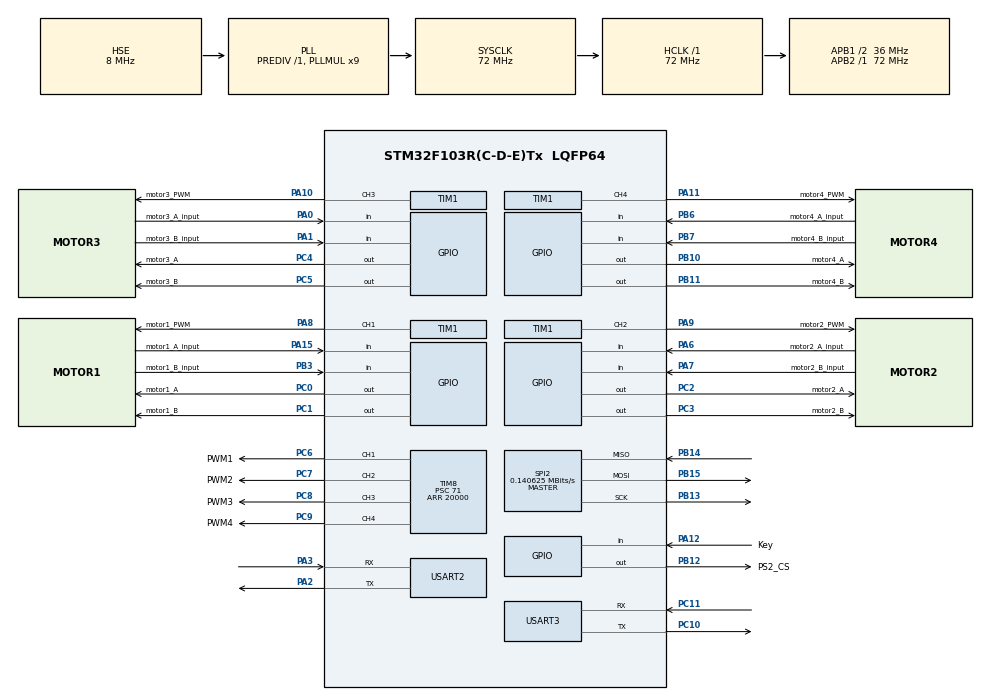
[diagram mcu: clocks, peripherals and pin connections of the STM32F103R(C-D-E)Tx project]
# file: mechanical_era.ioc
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Mcu.Family=STM32F1
Mcu.Name=STM32F103R(C-D-E)Tx
Mcu.Package=LQFP64
NVIC.PriorityGroup=NVIC_PRIORITYGROUP_4
PA0-WKUP.GPIO_Label=motor3_A_input
PA0-WKUP.Signal=GPIO_Input
PA1.GPIO_Label=motor3_B_input
PA1.Signal=GPIO_Input
PA10.GPIO_Label=motor3_PWM
PA10.Signal=S_TIM1_CH3
PA11.GPIO_Label=motor4_PWM
PA11.Signal=S_TIM1_CH4
PA12.GPIO_Label=Key
PA12.GPIO_PuPd=GPIO_PULLUP
PA12.Signal=GPIO_Input
PA13.Mode=Serial_Wire
PA13.Signal=SYS_JTMS-SWDIO
PA14.Mode=Serial_Wire
PA14.Signal=SYS_JTCK-SWCLK
PA15.GPIO_Label=motor1_A_input
PA15.Signal=GPIO_Input
PA2.Mode=Asynchronous
PA2.Signal=USART2_TX
PA3.Mode=Asynchronous
PA3.Signal=USART2_RX
PA6.GPIO_Label=motor2_A_input
PA6.Signal=GPIO_Input
PA7.GPIO_Label=motor2_B_input
PA7.Signal=GPIO_Input
PA8.GPIO_Label=motor1_PWM
PA8.Signal=S_TIM1_CH1
PA9.GPIO_Label=motor2_PWM
PA9.Signal=S_TIM1_CH2
PB10.GPIO_Label=motor4_A
PB10.Signal=GPIO_Output
PB11.GPIO_Label=motor4_B
PB11.Signal=GPIO_Output
PB12.GPIO_Label=PS2_CS
PB12.GPIO_OutputLevel=GPIO_PIN_SET
PB12.Signal=GPIO_Output
PB13.Mode=Full_Duplex_Master
PB13.Signal=SPI2_SCK
PB14.GPIO_PuPd=GPIO_PULLUP
PB14.Mode=Full_Duplex_Master
PB14.Signal=SPI2_MISO
PB15.Mode=Full_Duplex_Master
PB15.Signal=SPI2_MOSI
PB3.GPIO_Label=motor1_B_input
PB3.Signal=GPIO_Input
PB6.GPIO_Label=motor4_A_input
PB6.Signal=GPIO_Input
PB7.GPIO_Label=motor4_B_input
PB7.Signal=GPIO_Input
PC0.GPIO_Label=motor1_A
PC0.Signal=GPIO_Output
PC1.GPIO_Label=motor1_B
PC1.Signal=GPIO_Output
PC10.Mode=Asynchronous
PC10.Signal=USART3_TX
PC11.Mode=Asynchronous
PC11.Signal=USART3_RX
PC2.GPIO_Label=motor2_A
PC2.Signal=GPIO_Output
PC3.GPIO_Label=motor2_B
PC3.Signal=GPIO_Output
PC4.GPIO_Label=motor3_A
PC4.Signal=GPIO_Output
PC5.GPIO_Label=motor3_B
PC5.Signal=GPIO_Output
PC6.GPIO_Label=PWM1
PC6.Signal=S_TIM8_CH1
PC7.GPIO_Label=PWM2
PC7.Signal=S_TIM8_CH2
PC8.GPIO_Label=PWM3
PC8.Signal=S_TIM8_CH3
PC9.GPIO_Label=PWM4
PC9.Signal=S_TIM8_CH4
PD0-OSC_IN.Mode=HSE-External-Oscillator
PD0-OSC_IN.Signal=RCC_OSC_IN
PD1-OSC_OUT.Mode=HSE-External-Oscillator
PD1-OSC_OUT.Signal=RCC_OSC_OUT
ProjectManager.HeapSize=0x200
ProjectManager.StackSize=0x400
ProjectManager.TargetToolchain=CMake
RCC.AHBFreq_Value=72000000
RCC.APB1CLKDivider=RCC_HCLK_DIV2
RCC.APB1Freq_Value=36000000
RCC.APB1TimFreq_Value=72000000
RCC.APB2Freq_Value=72000000
RCC.APB2TimFreq_Value=72000000
RCC.HCLKFreq_Value=72000000
RCC.PLLMUL=RCC_PLL_MUL9
RCC.PLLSourceVirtual=RCC_PLLSOURCE_HSE
RCC.SYSCLKFreq_VALUE=72000000
RCC.SYSCLKSource=RCC_SYSCLKSOURCE_PLLCLK
RCC.USBFreq_Value=72000000
SH.S_TIM1_CH1.0=TIM1_CH1,PWM Generation1 CH1
SH.S_TIM1_CH2.0=TIM1_CH2,PWM Generation2 CH2
SH.S_TIM1_CH3.0=TIM1_CH3,PWM Generation3 CH3
SH.S_TIM1_CH4.0=TIM1_CH4,PWM Generation4 CH4
SH.S_TIM8_CH1.0=TIM8_CH1,PWM Generation1 CH1
SH.S_TIM8_CH2.0=TIM8_CH2,PWM Generation2 CH2
SH.S_TIM8_CH3.0=TIM8_CH3,PWM Generation3 CH3
SH.S_TIM8_CH4.0=TIM8_CH4,PWM Generation4 CH4
SPI2.BaudRatePrescaler=SPI_BAUDRATEPRESCALER_256
SPI2.CLKPhase=SPI_PHASE_2EDGE
SPI2.CLKPolarity=SPI_POLARITY_HIGH
SPI2.CalculateBaudRate=0.140625 MBits/s
SPI2.Direction=SPI_DIRECTION_2LINES
SPI2.FirstBit=SPI_FIRSTBIT_LSB
SPI2.Mode=SPI_MODE_MASTER
SPI2.VirtualType=VM_MASTER
TIM1.Channel-PWM\ Generation1\ CH1=TIM_CHANNEL_1
TIM1.Channel-PWM\ Generation2\ CH2=TIM_CHANNEL_2
TIM1.Channel-PWM\ Generation3\ CH3=TIM_CHANNEL_3
TIM1.Channel-PWM\ Generation4\ CH4=TIM_CHANNEL_4
TIM8.Channel-PWM\ Generation1\ CH1=TIM_CHANNEL_1
TIM8.Channel-PWM\ Generation2\ CH2=TIM_CHANNEL_2
TIM8.Channel-PWM\ Generation3\ CH3=TIM_CHANNEL_3
TIM8.Channel-PWM\ Generation4\ CH4=TIM_CHANNEL_4
TIM8.Period=20000
TIM8.Prescaler=71
USART2.VirtualMode=VM_ASYNC
USART3.VirtualMode=VM_ASYNC
VP_TIM1_VS_ClockSourceINT.Mode=Internal
VP_TIM8_VS_ClockSourceINT.Mode=Internal
board=custom

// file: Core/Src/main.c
/* USER CODE BEGIN Header */
/**
  ******************************************************************************
  * @file           : main.c
  * @brief          : 主程序
  ******************************************************************************
  * @attention
  *
  * Copyright (c) 2026 STMicroelectronics.
  * All rights reserved.
  *
  * This software is licensed under terms that can be found in the LICENSE file
  * in the root directory of this software component.
  * If no LICENSE file comes with this software, it is provided AS-IS.
  *
  ******************************************************************************
  */
/* USER CODE END Header */
#include "main.h"

/* USER CODE BEGIN Includes */
#include "app.h"

/* USER CODE END Includes */

SPI_HandleTypeDef hspi2;

TIM_HandleTypeDef htim1;
TIM_HandleTypeDef htim8;

UART_HandleTypeDef huart2;
UART_HandleTypeDef huart3;

void SystemClock_Config(void);
static void MX_GPIO_Init(void);
static void MX_SPI2_Init(void);
static void MX_TIM1_Init(void);
static void MX_TIM8_Init(void);
static void MX_USART2_UART_Init(void);
static void MX_USART3_UART_Init(void);

int main(void)
{

  /* MCU Configuration--------------------------------------------------------*/

  /* Reset of all peripherals, Initializes the Flash interface and the Systick. */
  HAL_Init();

  /* Configure the system clock */
  SystemClock_Config();

  /* Initialize all configured peripherals */
  MX_GPIO_Init();
  MX_SPI2_Init();
  MX_TIM1_Init();
  MX_TIM8_Init();
  MX_USART2_UART_Init();
  MX_USART3_UART_Init();
  /* USER CODE BEGIN 2 */
  main_task();
  /* USER CODE END 2 */

  /* Infinite loop */
  while (1)
  {

  }
}

void SystemClock_Config(void)
{
  RCC_OscInitTypeDef RCC_OscInitStruct = {0};
  RCC_ClkInitTypeDef RCC_ClkInitStruct = {0};

  /** Initializes the RCC Oscillators according to the specified parameters
  * in the RCC_OscInitTypeDef structure.
  */
  RCC_OscInitStruct.OscillatorType = RCC_OSCILLATORTYPE_HSE;
  RCC_OscInitStruct.HSEState = RCC_HSE_ON;
  RCC_OscInitStruct.HSEPredivValue = RCC_HSE_PREDIV_DIV1;
  RCC_OscInitStruct.HSIState = RCC_HSI_ON;
  RCC_OscInitStruct.PLL.PLLState = RCC_PLL_ON;
  RCC_OscInitStruct.PLL.PLLSource = RCC_PLLSOURCE_HSE;
  RCC_OscInitStruct.PLL.PLLMUL = RCC_PLL_MUL9;
  if (HAL_RCC_OscConfig(&RCC_OscInitStruct) != HAL_OK)
  {
    Error_Handler();
  }

  /** Initializes the CPU, AHB and APB buses clocks
  */
  RCC_ClkInitStruct.ClockType = RCC_CLOCKTYPE_HCLK|RCC_CLOCKTYPE_SYSCLK
                              |RCC_CLOCKTYPE_PCLK1|RCC_CLOCKTYPE_PCLK2;
  RCC_ClkInitStruct.SYSCLKSource = RCC_SYSCLKSOURCE_PLLCLK;
  RCC_ClkInitStruct.AHBCLKDivider = RCC_SYSCLK_DIV1;
  RCC_ClkInitStruct.APB1CLKDivider = RCC_HCLK_DIV2;
  RCC_ClkInitStruct.APB2CLKDivider = RCC_HCLK_DIV1;

  if (HAL_RCC_ClockConfig(&RCC_ClkInitStruct, FLASH_LATENCY_2) != HAL_OK)
  {
    Error_Handler();
  }
}

static void MX_SPI2_Init(void)
{

  /* SPI2 parameter configuration*/
  hspi2.Instance = SPI2;
  hspi2.Init.Mode = SPI_MODE_MASTER;
  hspi2.Init.Direction = SPI_DIRECTION_2LINES;
  hspi2.Init.DataSize = SPI_DATASIZE_8BIT;
  /* PS2 手柄协议使用 SPI Mode 3：时钟空闲为高，在第二个边沿采样。 */
  hspi2.Init.CLKPolarity = SPI_POLARITY_HIGH;
  hspi2.Init.CLKPhase = SPI_PHASE_2EDGE;
  hspi2.Init.NSS = SPI_NSS_SOFT;
  /* 接收器只支持低速、低位先行的 PS2 串行格式。 */
  hspi2.Init.BaudRatePrescaler = SPI_BAUDRATEPRESCALER_256;
  hspi2.Init.FirstBit = SPI_FIRSTBIT_LSB;
  hspi2.Init.TIMode = SPI_TIMODE_DISABLE;
  hspi2.Init.CRCCalculation = SPI_CRCCALCULATION_DISABLE;
  hspi2.Init.CRCPolynomial = 10;
  if (HAL_SPI_Init(&hspi2) != HAL_OK)
  {
    Error_Handler();
  }
  /* USER CODE BEGIN SPI2_Init 2 */
  /*
   * 此段位于 CubeMX 保留区。即使 .ioc 被旧版 CubeMX 重新生成而丢失
   * SPI 高级参数，也强制恢复 PS2 所需的 Mode 3、LSB-first、分频 256。
   */
  if (hspi2.Init.CLKPolarity != SPI_POLARITY_HIGH ||
      hspi2.Init.CLKPhase != SPI_PHASE_2EDGE ||
      hspi2.Init.BaudRatePrescaler != SPI_BAUDRATEPRESCALER_256 ||
      hspi2.Init.FirstBit != SPI_FIRSTBIT_LSB)
  {
    if (HAL_SPI_DeInit(&hspi2) != HAL_OK)
    {
      Error_Handler();
    }
    hspi2.Init.CLKPolarity = SPI_POLARITY_HIGH;
    hspi2.Init.CLKPhase = SPI_PHASE_2EDGE;
    hspi2.Init.BaudRatePrescaler = SPI_BAUDRATEPRESCALER_256;
    hspi2.Init.FirstBit = SPI_FIRSTBIT_LSB;
    if (HAL_SPI_Init(&hspi2) != HAL_OK)
    {
      Error_Handler();
    }
  }

  /* USER CODE END SPI2_Init 2 */

}

static void MX_TIM1_Init(void)
{

  TIM_ClockConfigTypeDef sClockSourceConfig = {0};
  TIM_MasterConfigTypeDef sMasterConfig = {0};
  TIM_OC_InitTypeDef sConfigOC = {0};
  TIM_BreakDeadTimeConfigTypeDef sBreakDeadTimeConfig = {0};

  htim1.Instance = TIM1;
  htim1.Init.Prescaler = 0;
  htim1.Init.CounterMode = TIM_COUNTERMODE_UP;
  htim1.Init.Period = 65535;
  htim1.Init.ClockDivision = TIM_CLOCKDIVISION_DIV1;
  htim1.Init.RepetitionCounter = 0;
  htim1.Init.AutoReloadPreload = TIM_AUTORELOAD_PRELOAD_DISABLE;
  if (HAL_TIM_Base_Init(&htim1) != HAL_OK)
  {
    Error_Handler();
  }
  sClockSourceConfig.ClockSource = TIM_CLOCKSOURCE_INTERNAL;
  if (HAL_TIM_ConfigClockSource(&htim1, &sClockSourceConfig) != HAL_OK)
  {
    Error_Handler();
  }
  if (HAL_TIM_PWM_Init(&htim1) != HAL_OK)
  {
    Error_Handler();
  }
  sMasterConfig.MasterOutputTrigger = TIM_TRGO_RESET;
  sMasterConfig.MasterSlaveMode = TIM_MASTERSLAVEMODE_DISABLE;
  if (HAL_TIMEx_MasterConfigSynchronization(&htim1, &sMasterConfig) != HAL_OK)
  {
    Error_Handler();
  }
  sConfigOC.OCMode = TIM_OCMODE_PWM1;
  sConfigOC.Pulse = 0;
  sConfigOC.OCPolarity = TIM_OCPOLARITY_HIGH;
  sConfigOC.OCNPolarity = TIM_OCNPOLARITY_HIGH;
  sConfigOC.OCFastMode = TIM_OCFAST_DISABLE;
  sConfigOC.OCIdleState = TIM_OCIDLESTATE_RESET;
  sConfigOC.OCNIdleState = TIM_OCNIDLESTATE_RESET;
  if (HAL_TIM_PWM_ConfigChannel(&htim1, &sConfigOC, TIM_CHANNEL_1) != HAL_OK)
  {
    Error_Handler();
  }
  if (HAL_TIM_PWM_ConfigChannel(&htim1, &sConfigOC, TIM_CHANNEL_2) != HAL_OK)
  {
    Error_Handler();
  }
  if (HAL_TIM_PWM_ConfigChannel(&htim1, &sConfigOC, TIM_CHANNEL_3) != HAL_OK)
  {
    Error_Handler();
  }
  if (HAL_TIM_PWM_ConfigChannel(&htim1, &sConfigOC, TIM_CHANNEL_4) != HAL_OK)
  {
    Error_Handler();
  }
  sBreakDeadTimeConfig.OffStateRunMode = TIM_OSSR_DISABLE;
  sBreakDeadTimeConfig.OffStateIDLEMode = TIM_OSSI_DISABLE;
  sBreakDeadTimeConfig.LockLevel = TIM_LOCKLEVEL_OFF;
  sBreakDeadTimeConfig.DeadTime = 0;
  sBreakDeadTimeConfig.BreakState = TIM_BREAK_DISABLE;
  sBreakDeadTimeConfig.BreakPolarity = TIM_BREAKPOLARITY_HIGH;
  sBreakDeadTimeConfig.AutomaticOutput = TIM_AUTOMATICOUTPUT_DISABLE;
  if (HAL_TIMEx_ConfigBreakDeadTime(&htim1, &sBreakDeadTimeConfig) != HAL_OK)
  {
    Error_Handler();
  }
  HAL_TIM_MspPostInit(&htim1);

}

static void MX_TIM8_Init(void)
{

  TIM_ClockConfigTypeDef sClockSourceConfig = {0};
  TIM_MasterConfigTypeDef sMasterConfig = {0};
  TIM_OC_InitTypeDef sConfigOC = {0};
  TIM_BreakDeadTimeConfigTypeDef sBreakDeadTimeConfig = {0};

  htim8.Instance = TIM8;
  htim8.Init.Prescaler = 71;
  htim8.Init.CounterMode = TIM_COUNTERMODE_UP;
  htim8.Init.Period = 20000;
  htim8.Init.ClockDivision = TIM_CLOCKDIVISION_DIV1;
  htim8.Init.RepetitionCounter = 0;
  htim8.Init.AutoReloadPreload = TIM_AUTORELOAD_PRELOAD_DISABLE;
  if (HAL_TIM_Base_Init(&htim8) != HAL_OK)
  {
    Error_Handler();
  }
  sClockSourceConfig.ClockSource = TIM_CLOCKSOURCE_INTERNAL;
  if (HAL_TIM_ConfigClockSource(&htim8, &sClockSourceConfig) != HAL_OK)
  {
    Error_Handler();
  }
  if (HAL_TIM_PWM_Init(&htim8) != HAL_OK)
  {
    Error_Handler();
  }
  sMasterConfig.MasterOutputTrigger = TIM_TRGO_RESET;
  sMasterConfig.MasterSlaveMode = TIM_MASTERSLAVEMODE_DISABLE;
  if (HAL_TIMEx_MasterConfigSynchronization(&htim8, &sMasterConfig) != HAL_OK)
  {
    Error_Handler();
  }
  sConfigOC.OCMode = TIM_OCMODE_PWM1;
  sConfigOC.Pulse = 0;
  sConfigOC.OCPolarity = TIM_OCPOLARITY_HIGH;
  sConfigOC.OCNPolarity = TIM_OCNPOLARITY_HIGH;
  sConfigOC.OCFastMode = TIM_OCFAST_DISABLE;
  sConfigOC.OCIdleState = TIM_OCIDLESTATE_RESET;
  sConfigOC.OCNIdleState = TIM_OCNIDLESTATE_RESET;
  if (HAL_TIM_PWM_ConfigChannel(&htim8, &sConfigOC, TIM_CHANNEL_1) != HAL_OK)
  {
    Error_Handler();
  }
  if (HAL_TIM_PWM_ConfigChannel(&htim8, &sConfigOC, TIM_CHANNEL_2) != HAL_OK)
  {
    Error_Handler();
  }
  if (HAL_TIM_PWM_ConfigChannel(&htim8, &sConfigOC, TIM_CHANNEL_3) != HAL_OK)
  {
    Error_Handler();
  }
  if (HAL_TIM_PWM_ConfigChannel(&htim8, &sConfigOC, TIM_CHANNEL_4) != HAL_OK)
  {
    Error_Handler();
  }
  sBreakDeadTimeConfig.OffStateRunMode = TIM_OSSR_DISABLE;
  sBreakDeadTimeConfig.OffStateIDLEMode = TIM_OSSI_DISABLE;
  sBreakDeadTimeConfig.LockLevel = TIM_LOCKLEVEL_OFF;
  sBreakDeadTimeConfig.DeadTime = 0;
  sBreakDeadTimeConfig.BreakState = TIM_BREAK_DISABLE;
  sBreakDeadTimeConfig.BreakPolarity = TIM_BREAKPOLARITY_HIGH;
  sBreakDeadTimeConfig.AutomaticOutput = TIM_AUTOMATICOUTPUT_DISABLE;
  if (HAL_TIMEx_ConfigBreakDeadTime(&htim8, &sBreakDeadTimeConfig) != HAL_OK)
  {
    Error_Handler();
  }
  HAL_TIM_MspPostInit(&htim8);

}

static void MX_USART2_UART_Init(void)
{

  huart2.Instance = USART2;
  huart2.Init.BaudRate = 115200;
  huart2.Init.WordLength = UART_WORDLENGTH_8B;
  huart2.Init.StopBits = UART_STOPBITS_1;
  huart2.Init.Parity = UART_PARITY_NONE;
  huart2.Init.Mode = UART_MODE_TX_RX;
  huart2.Init.HwFlowCtl = UART_HWCONTROL_NONE;
  huart2.Init.OverSampling = UART_OVERSAMPLING_16;
  if (HAL_UART_Init(&huart2) != HAL_OK)
  {
    Error_Handler();
  }

}

static void MX_USART3_UART_Init(void)
{

  huart3.Instance = USART3;
  huart3.Init.BaudRate = 115200;
  huart3.Init.WordLength = UART_WORDLENGTH_8B;
  huart3.Init.StopBits = UART_STOPBITS_1;
  huart3.Init.Parity = UART_PARITY_NONE;
  huart3.Init.Mode = UART_MODE_TX_RX;
  huart3.Init.HwFlowCtl = UART_HWCONTROL_NONE;
  huart3.Init.OverSampling = UART_OVERSAMPLING_16;
  if (HAL_UART_Init(&huart3) != HAL_OK)
  {
    Error_Handler();
  }

}

static void MX_GPIO_Init(void)
{
  GPIO_InitTypeDef GPIO_InitStruct = {0};

  /* GPIO Ports Clock Enable */
  __HAL_RCC_GPIOD_CLK_ENABLE();
  __HAL_RCC_GPIOC_CLK_ENABLE();
  __HAL_RCC_GPIOA_CLK_ENABLE();
  __HAL_RCC_GPIOB_CLK_ENABLE();

  /*Configure GPIO pin Output Level */
  HAL_GPIO_WritePin(GPIOC, motor1_A_Pin|motor1_B_Pin|motor2_A_Pin|motor2_B_Pin
                          |motor3_A_Pin|motor3_B_Pin, GPIO_PIN_RESET);

  /*Configure GPIO pin Output Level */
  HAL_GPIO_WritePin(GPIOB, motor4_A_Pin|motor4_B_Pin, GPIO_PIN_RESET);
  HAL_GPIO_WritePin(PS2_CS_GPIO_Port, PS2_CS_Pin, GPIO_PIN_SET);

  /*Configure GPIO pins : motor1_A_Pin motor1_B_Pin motor2_A_Pin motor2_B_Pin
                           motor3_A_Pin motor3_B_Pin */
  GPIO_InitStruct.Pin = motor1_A_Pin|motor1_B_Pin|motor2_A_Pin|motor2_B_Pin
                          |motor3_A_Pin|motor3_B_Pin;
  GPIO_InitStruct.Mode = GPIO_MODE_OUTPUT_PP;
  GPIO_InitStruct.Pull = GPIO_NOPULL;
  GPIO_InitStruct.Speed = GPIO_SPEED_FREQ_LOW;
  HAL_GPIO_Init(GPIOC, &GPIO_InitStruct);

  /*Configure GPIO pins : motor3_A_input_Pin motor3_B_input_Pin motor2_A_input_Pin motor2_B_input_Pin
                           motor1_A_input_Pin */
  GPIO_InitStruct.Pin = motor3_A_input_Pin|motor3_B_input_Pin|motor2_A_input_Pin|motor2_B_input_Pin
                          |motor1_A_input_Pin;
  GPIO_InitStruct.Mode = GPIO_MODE_INPUT;
  GPIO_InitStruct.Pull = GPIO_NOPULL;
  HAL_GPIO_Init(GPIOA, &GPIO_InitStruct);

  /*Configure GPIO pins : motor4_A_Pin motor4_B_Pin PS2_CS_Pin */
  GPIO_InitStruct.Pin = motor4_A_Pin|motor4_B_Pin|PS2_CS_Pin;
  GPIO_InitStruct.Mode = GPIO_MODE_OUTPUT_PP;
  GPIO_InitStruct.Pull = GPIO_NOPULL;
  GPIO_InitStruct.Speed = GPIO_SPEED_FREQ_LOW;
  HAL_GPIO_Init(GPIOB, &GPIO_InitStruct);

  /*Configure GPIO pin : Key_Pin */
  GPIO_InitStruct.Pin = Key_Pin;
  GPIO_InitStruct.Mode = GPIO_MODE_INPUT;
  GPIO_InitStruct.Pull = GPIO_PULLUP;
  HAL_GPIO_Init(Key_GPIO_Port, &GPIO_InitStruct);

  /*Configure GPIO pins : motor1_B_input_Pin motor4_A_input_Pin motor4_B_input_Pin */
  GPIO_InitStruct.Pin = motor1_B_input_Pin|motor4_A_input_Pin|motor4_B_input_Pin;
  GPIO_InitStruct.Mode = GPIO_MODE_INPUT;
  GPIO_InitStruct.Pull = GPIO_NOPULL;
  HAL_GPIO_Init(GPIOB, &GPIO_InitStruct);

  /* USER CODE BEGIN MX_GPIO_Init_2 */

  /* 低电平有效的停止按键必须具有确定的空闲电平。 */
  GPIO_InitStruct.Pin = Key_Pin;
  GPIO_InitStruct.Mode = GPIO_MODE_INPUT;
  GPIO_InitStruct.Pull = GPIO_PULLUP;
  HAL_GPIO_Init(Key_GPIO_Port, &GPIO_InitStruct);

  /* USER CODE END MX_GPIO_Init_2 */
}

void Error_Handler(void)
{
  /* USER CODE BEGIN Error_Handler_Debug */
  /* 用户可在此添加代码，报告 HAL 返回的错误状态 */
  __disable_irq();
  while (1)
  {
  }
  /* USER CODE END Error_Handler_Debug */
}
#ifdef USE_FULL_ASSERT
/**
  * @brief  Reports the name of the source file and the source line number
  *         where the assert_param error has occurred.
  * @param  file: pointer to the source file name
  * @param  line: assert_param error line source number
  * @retval None
  */
void assert_failed(uint8_t *file, uint32_t line)
{
  /* USER CODE BEGIN 6 */
  /* 用户可在此添加代码，报告文件名称和行号，
     例如：printf("Wrong parameters value: file %s on line %d\r\n", file, line) */
  /* USER CODE END 6 */
}
#endif /* USE_FULL_ASSERT */
